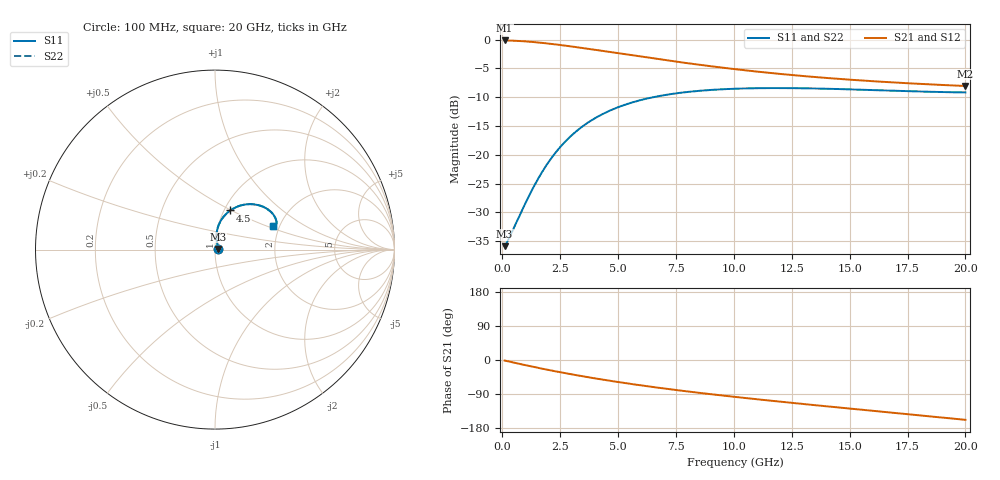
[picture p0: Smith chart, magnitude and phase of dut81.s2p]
! Touchstone file exported from HFSS 2024.1.0
!  File:  C:/UserFiles/LocalFiles/RDL_TSV_Batchsim/temp_RDL_TSV_81_1779414365.aedt
!  Generated:  10:09:24 AM May 22, 2026
!  Design:  RDL_TSV
!  Project:  temp_RDL_TSV_81_1779414365
!  Setup:  Setup1
!  Solution:  Sweep
! Variables:
!  dtsv = 5.48um
!  hbump = 3um
!  htsv = 98.01um
!  ldown = 213.07um
!  lrdl = 305.59um
!  p = 40
!  p1 = 58.98um
!  rhole = 10um
!  subl = 1861.57um
!  t = 450um
!  tdown = 4.12um
!  trdl = 2.19um
!  viad = 10um
!  wdown = 24.94um
!  wrdl = 17.95um
!  xbump = 18um
# GHz S MA R 50.000000
! Terminal data exported
! Port[1] = TM1_1_T1
! Port[2] = TM1_4_T1
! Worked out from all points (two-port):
!   200 points, 100 MHz to 20 GHz, reference 50 ohm
!   highest |S21| = -0.14 dB at 100 MHz (marker M1); lowest = -8.0 dB at 20 GHz (marker M2)
!   |S21| within 3 dB of the highest: start of sweep to 6.327 GHz
!   lowest |S11| = -35.9 dB at 100 MHz (marker M3), VSWR 1.03, Z = 51.6 + j0.376 ohm
!   |S11| at or under -10 dB: start of sweep to 6.51 GHz
!   |S22| runs from -35.9 to -8.4 dB; largest |S21 - S12| = 1.7e-14
!   S11 on the Smith chart (normalised r, x): 100 MHz: 1.03, +0.01; 4.5 GHz: 1.07, +0.49; 20 GHz: 1.84, +0.55
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0.1  0.01611 13.1  0.9841 -1.4  0.9841 -1.4  0.01611 13.1
! Gamma 0 0 0 0
! Port Impedance 50 0 50 0
0.3  0.01905 33.9  0.9821 -4.2  0.9821 -4.2  0.01905 33.9
0.7  0.02836 59.3  0.9744 -9.6  0.9744 -9.6  0.02836 59.3
1.3  0.05024 78.2  0.9553 -17.5  0.9553 -17.5  0.05025 78.3
1.6  0.0647 82.2  0.943 -21.4  0.943 -21.4  0.06472 82.3
1.9  0.08095 84.0  0.9293 -25.1  0.9293 -25.1  0.08097 84.0
2.2  0.09846 84.1  0.9145 -28.7  0.9145 -28.7  0.09849 84.1
2.6  0.123 82.8  0.8937 -33.4  0.8937 -33.4  0.123 82.8
3  0.148 80.5  0.8721 -37.9  0.8721 -37.9  0.148 80.5
3.5  0.1787 76.8  0.8445 -43.3  0.8445 -43.3  0.1787 76.8
4  0.2078 72.7  0.8169 -48.4  0.8169 -48.4  0.2079 72.7
4.5  0.2347 68.5  0.7896 -53.4  0.7896 -53.4  0.2348 68.5
5.6  0.2846 59.7  0.7321 -63.5  0.7321 -63.5  0.2848 59.7
6.8  0.3246 51.3  0.6749 -73.7  0.6749 -73.7  0.3247 51.3
8.4  0.358 42.0  0.6094 -85.9  0.6094 -85.9  0.3582 42.0
10.1  0.3752 34.4  0.553 -97.7  0.553 -97.7  0.3754 34.4
11.7  0.3799 29.0  0.5109 -108.1  0.5109 -108.1  0.38 29.0
13.4  0.3771 25.0  0.4756 -118.6  0.4756 -118.6  0.3772 25.0
15  0.3702 22.5  0.4494 -128.2  0.4494 -128.2  0.3703 22.5
16.7  0.3612 21.2  0.4273 -138.2  0.4273 -138.2  0.3613 21.3
18.4  0.353 21.2  0.4097 -148.3  0.4097 -148.3  0.353 21.3
20  0.3481 22.2  0.396 -157.9  0.396 -157.9  0.3482 22.2
